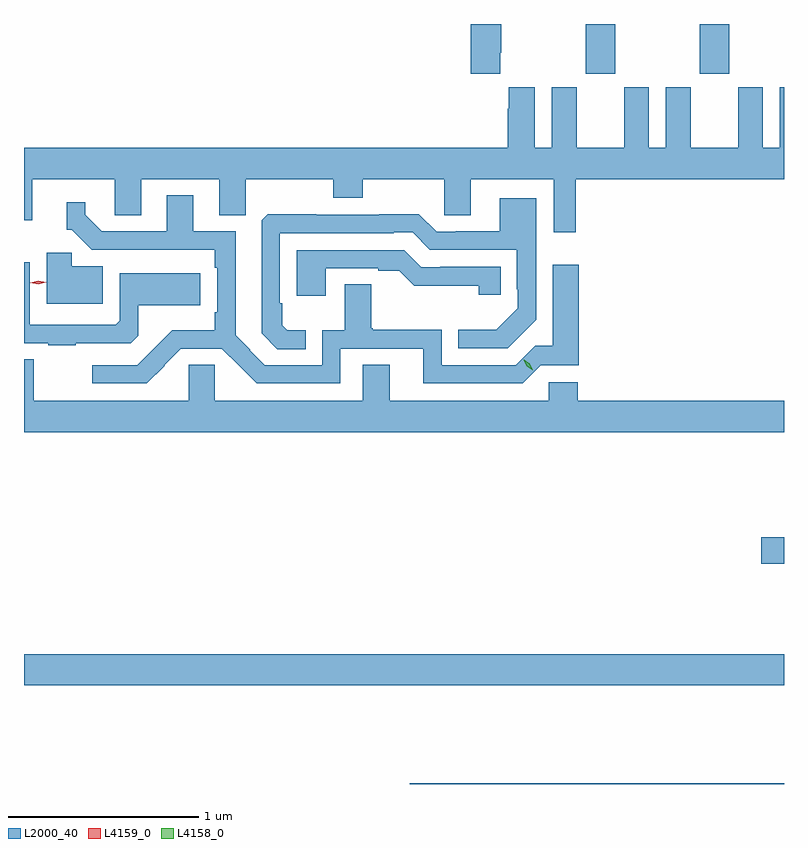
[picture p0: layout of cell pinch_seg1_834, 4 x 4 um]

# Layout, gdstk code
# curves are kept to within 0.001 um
import gdstk
lib = gdstk.Library(unit=1e-6, precision=1e-09)
def R(c, l, rs):  # rectangles x0, y0, x1, y1
    for r in rs: c.add(gdstk.rectangle(r[:2], r[2:], *l))
def P(c, l, *ps):  # polygons
    for p in ps: c.add(gdstk.Polygon(p, *l))
L2000_40 = (2000, 40)
L4158_0 = (4158, 0)
L4159_0 = (4159, 0)

pinch_seg1_834 = lib.new_cell('pinch_seg1_834')
R(pinch_seg1_834, L2000_40, [(434.327,523.24,436.297,523.244), (432.297,523.76,436.297,523.924), (436.176,524.398,436.297,524.54), (435.253,526.977,435.408,527.24), (435.853,526.977,436.008,527.24)])
P(pinch_seg1_834, L2000_40, [(434.803,527.089),(434.808,527.089),(434.808,527.24),(434.648,527.24),(434.648,526.977),(434.803,526.977)],
  [(435.2,526.424),(436.297,526.424),(436.297,526.906),(436.274,526.906),(436.274,526.588),(436.186,526.588),(436.186,526.906),(436.055,526.906),(436.055,526.588),(435.805,526.588),(435.805,526.906),(435.674,526.906),(435.674,526.588),(435.586,526.588),(435.586,526.906),(435.455,526.906),(435.455,526.588),(435.205,526.588),(435.205,526.906),(435.074,526.906),(435.074,526.588),(434.986,526.588),(434.986,526.906),(434.849,526.906),(434.849,526.793),(434.843,526.793),(434.843,526.588),(432.297,526.588),(432.297,526.206),(432.341,526.206),(432.341,526.424),(432.774,526.424),(432.774,526.234),(432.913,526.234),(432.913,526.424),(433.325,526.424),(433.325,526.234),(433.465,526.234),(433.465,526.424),(433.924,526.424),(433.924,526.325),(434.079,526.325),(434.079,526.424),(434.508,526.424),(434.508,526.234),(434.647,526.234),(434.647,526.424),(435.084,526.424),(435.084,526.143),(435.2,526.143)],
  [(433.037,525.442),(433.035,525.444),(433.122,525.531),(433.338,525.531),(433.523,525.348),(433.962,525.348),(433.962,525.531),(434.399,525.531),(434.399,525.348),(434.922,525.348),(435.018,525.444),(435.218,525.444),(435.218,525.973),(435.08,525.973),(435.08,525.546),(434.988,525.546),(434.886,525.444),(434.496,525.444),(434.496,525.63),(434.133,525.63),(434.133,525.64),(434.125,525.64),(434.125,525.869),(433.985,525.869),(433.985,525.629),(433.866,525.629),(433.866,525.444),(433.563,525.444),(433.485,525.522),(433.488,525.525),(433.411,525.602),(433.411,526.149),(433.189,526.149),(433.189,526.339),(433.049,526.339),(433.049,526.149),(432.707,526.149),(432.619,526.237),(432.619,526.303),(432.521,526.303),(432.521,526.158),(432.549,526.158),(432.654,526.053),(433.3,526.053),(433.3,525.956),(433.314,525.956),(433.314,525.724),(433.302,525.724),(433.302,525.628),(433.078,525.628),(432.894,525.444),(432.657,525.444),(432.657,525.348),(432.943,525.348)],
  [(433.781,525.629),(433.682,525.629),(433.656,525.654),(433.656,525.769),(433.644,525.769),(433.644,526.14),(434.243,526.14),(434.243,526.143),(434.343,526.143),(434.433,526.053),(434.891,526.053),(434.891,525.844),(434.895,525.844),(434.895,525.744),(434.783,525.632),(434.583,525.632),(434.583,525.534),(434.842,525.534),(434.992,525.684),(434.992,526.324),(434.801,526.324),(434.801,526.149),(434.569,526.149),(434.569,526.146),(434.469,526.146),(434.375,526.24),(434.167,526.24),(434.167,526.236),(433.835,526.236),(433.835,526.24),(433.579,526.24),(433.547,526.207),(433.548,525.612),(433.631,525.529),(433.781,525.529)],
  [(433.885,525.954),(434.162,525.954),(434.162,525.942),(434.272,525.942),(434.352,525.862),(434.69,525.862),(434.69,525.816),(434.806,525.816),(434.806,525.963),(434.488,525.963),(434.488,525.96),(434.388,525.96),(434.298,526.05),(433.733,526.05),(433.733,525.81),(433.885,525.81)],
  [(432.712,525.964),(432.548,525.964),(432.548,526.037),(432.416,526.037),(432.416,525.767),(432.712,525.767)],
  [(432.569,525.561),(432.858,525.561),(432.897,525.6),(432.897,525.761),(433.225,525.761),(433.225,525.927),(432.801,525.928),(432.801,525.678),(432.78,525.657),(432.328,525.657),(432.328,525.985),(432.297,525.985),(432.297,525.561),(432.424,525.561),(432.424,525.549),(432.569,525.549)],
  [(436.297,525.256),(435.212,525.256),(435.212,525.354),(435.06,525.354),(435.06,525.256),(434.221,525.256),(434.221,525.446),(434.081,525.446),(434.081,525.256),(433.301,525.256),(433.301,525.446),(433.164,525.446),(433.164,525.256),(432.349,525.256),(432.349,525.475),(432.297,525.475),(432.297,525.092),(436.297,525.092)])
P(pinch_seg1_834, L4158_0, [(434.975,525.418),(434.944,525.438),(434.928,525.472),(434.928,525.472),(434.929,525.472),(434.959,525.452),(434.975,525.418),(434.975,525.418)])
P(pinch_seg1_834, L4159_0, [(432.372,525.869),(432.331,525.878),(432.331,525.878),(432.331,525.878),(432.372,525.889),(432.413,525.881),(432.413,525.881),(432.413,525.881)])

lib.write_gds('pinch_seg1_834.gds')
